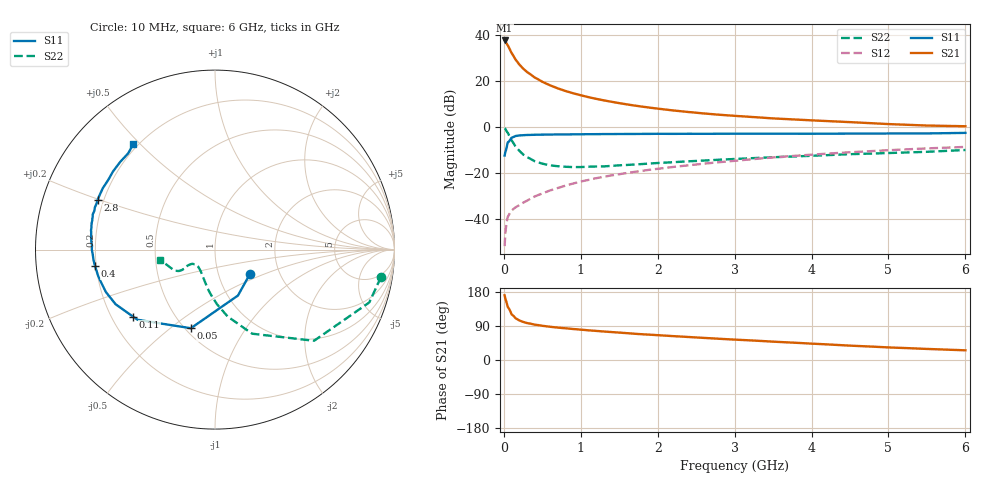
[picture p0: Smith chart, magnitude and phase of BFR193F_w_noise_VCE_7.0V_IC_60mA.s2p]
! Infineon Technologies  Discrete & RF Semiconductors
! BFR193F
! VCE =  7.0 V,  IC =  60 mA
! Common Emitter S-Parameters:  Jan 2017
# GHz  S  MA  R  50
!  f  S11  S21  S12  S22
! GHz  MAG  ANG  MAG  ANG  MAG  ANG  MAG  ANG
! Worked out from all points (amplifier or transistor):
!   77 points, 10 MHz to 6 GHz, reference 50 ohm
!   highest |S21| = 37.8 dB at 10 MHz (marker M1)
!   |S21| within 3 dB of that: start of sweep to 64.51 MHz
!   unconditionally stable (mu >= 1): 771.1 MHz to 2.524 GHz
!   at 130 MHz: K = 0.50, MSG = 33.2 dB, |S12| = -35.7 dB
!   at 2.2 GHz: K = 1.02, MAG = 11.6 dB, |S12| = -17.5 dB
!   at 6 GHz: K = 0.85, MSG = 4.5 dB, |S12| = -8.7 dB
!   lowest NFmin = 1.64 dB at 450 MHz
!   S11 on the Smith chart (normalised r, x): 10 MHz: 1.41, -0.41; 50 MHz: 0.53, -0.59; 110 MHz: 0.29, -0.33; 400 MHz: 0.20, -0.07; 2.8 GHz: 0.18, +0.20; 6 GHz: 0.18, +0.48
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0.01  0.2374 -34.9  77.19 170.7  0.0025 84.8  0.9373 -9.4
0.02  0.2862 -63.5  74.4 161.6  0.0049 74.4  0.9086 -18.9
0.05  0.4583 -107.1  60.95 140.6  0.0108 64.4  0.7502 -42.6
0.1  0.5821 -137.8  41.29 120.5  0.0149 53.1  0.5126 -66.1
0.11  0.5894 -140.6  38.95 119.0  0.0154 53.1  0.4843 -68.2
0.15  0.6321 -151.2  29.97 110.6  0.0175 52.9  0.3795 -79.3
0.2  0.6523 -158.8  23.22 104.5  0.0196 55.1  0.3038 -88.0
0.25  0.6605 -164.0  18.85 100.6  0.0222 57.8  0.2519 -95.2
0.3  0.6675 -167.3  15.88 97.6  0.0245 60.4  0.2209 -100.7
0.4  0.6747 -172.2  12.03 93.3  0.0303 64.2  0.1791 -109.7
0.5  0.6795 -175.3  9.68 90.3  0.0353 66.9  0.1581 -116.9
0.6  0.6818 -177.9  8.107 87.7  0.0411 68.6  0.1453 -123.0
0.7  0.6866 179.9  6.966 85.5  0.0464 70.6  0.1389 -127.6
0.9  0.6902 176.5  5.445 81.8  0.0582 72.1  0.133 -135.6
1.1  0.6948 173.6  4.469 78.3  0.0698 73.4  0.1356 -140.3
1.5  0.7011 169.0  3.309 72.3  0.0928 74.3  0.1453 -146.4
2.1  0.7074 163.1  2.4 64.3  0.1278 74.0  0.1666 -149.5
2.8  0.7101 157.2  1.846 56.0  0.17 72.8  0.1927 -149.3
3.1  0.7109 154.7  1.704 52.8  0.1888 72.0  0.2035 -148.2
4.1  0.711 146.0  1.368 42.2  0.2548 67.9  0.2384 -150.1
5.1  0.7196 136.3  1.138 32.4  0.3164 62.4  0.2728 -159.7
6  0.7421 127.9  1.036 25.5  0.3667 57.0  0.3141 -169.8
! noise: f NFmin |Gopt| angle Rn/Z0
0.45  1.64  0.49  -178  0.08
0.9  1.73  0.5  -177  0.09
1.9  2.33  0.61  -162  0.1
2.4  2.66  0.62  -155  0.17
